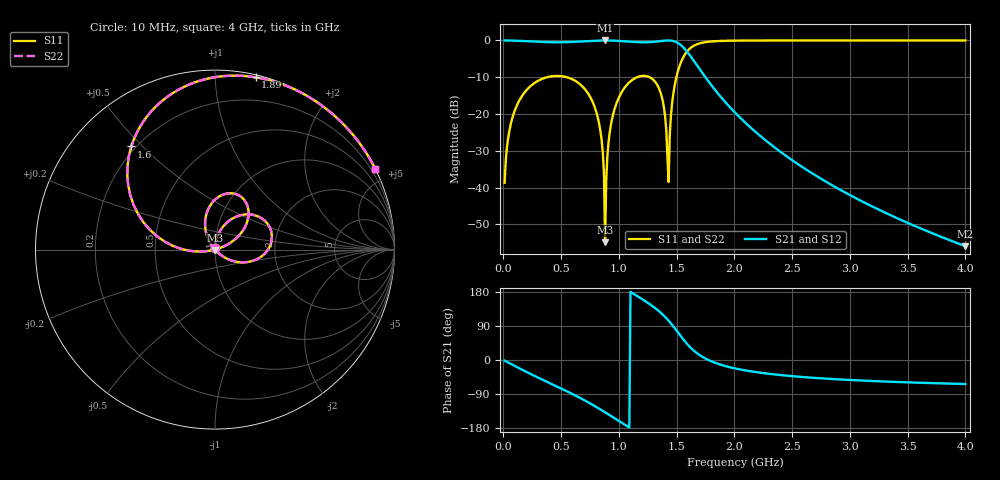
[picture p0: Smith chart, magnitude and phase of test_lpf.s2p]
! AWR Design Environment (18789) Tue Jul  1 17:10:25 2025
! Document = 'lpf'
! nPorts: 2, nXvals: 400
# GHz S DB R 50
!Freq DBS11 AngS11 DBS21 AngS21 DBS12 AngS12 DBS22 AngS22
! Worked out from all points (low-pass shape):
!   400 points, 10 MHz to 4 GHz, reference 50 ohm
!   highest |S21| = 0.00 dB at 880 MHz (marker M1); lowest = -55.9 dB at 4 GHz (marker M2)
!   |S21| within 3 dB of the highest: start of sweep to 1.589 GHz
!   lowest |S11| = -54.9 dB at 880 MHz (marker M3), VSWR 1.00, Z = 50.1 - j0.135 ohm
!   |S11| at or under -10 dB: start of sweep to 377 MHz; 548.1 MHz to 1.157 GHz (608.4 MHz wide, 71.4 % of centre); 1.266 GHz to 1.498 GHz (231.7 MHz wide, 16.8 % of centre)
!   |S22| runs from -54.9 to 0.0 dB; largest |S21 - S12| = 0
!   S11 on the Smith chart (normalised r, x): 10 MHz: 1.00, +0.02; 1.6 GHz: 0.18, +0.46; 1.89 GHz: 0.02, +1.26; 4 GHz: 0.00, +4.23
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0.01  -38.69 88.4  -0.00 -1.6  -0.00 -1.6  -38.69 88.4
0.06  -23.20 80.4  -0.02 -9.6  -0.02 -9.6  -23.20 80.4
0.19  -13.86 60.0  -0.18 -30.0  -0.18 -30.0  -13.86 60.0
0.68  -12.39 -12.8  -0.26 -102.8  -0.26 -102.8  -12.39 -12.8
0.84  -24.69 -40.5  -0.01 -130.5  -0.01 -130.5  -24.69 -40.5
0.87  -35.84 -46.1  -0.00 -136.1  -0.00 -136.1  -35.84 -46.1
0.88  -54.86 -48.0  -0.00 -138.0  -0.00 -138.0  -54.86 -48.0
0.89  -37.98 130.1  -0.00 -139.9  -0.00 -139.9  -37.98 130.1
0.9  -31.34 128.2  -0.00 -141.8  -0.00 -141.8  -31.34 128.2
0.97  -17.90 114.8  -0.07 -155.2  -0.07 -155.2  -17.90 114.8
1.15  -10.09 80.5  -0.45 170.5  -0.45 170.5  -10.09 80.5
1.34  -12.59 40.5  -0.25 130.5  -0.25 130.5  -12.59 40.5
1.4  -20.70 23.7  -0.04 113.7  -0.04 113.7  -20.70 23.7
1.43  -38.47 -166.1  -0.00 103.9  -0.00 103.9  -38.47 -166.1
1.44  -25.74 -169.6  -0.01 100.4  -0.01 100.4  -25.74 -169.6
1.47  -14.71 179.2  -0.15 89.2  -0.15 89.2  -14.71 179.2
1.6  -2.61 129.1  -3.45 39.1  -3.45 39.1  -2.61 129.1
1.89  -0.12 76.7  -15.64 -13.3  -15.64 -13.3  -0.12 76.7
2.01  -0.05 67.5  -19.76 -22.5  -19.76 -22.5  -0.05 67.5
2.67  -0.00 43.3  -36.07 -46.7  -36.07 -46.7  -0.00 43.3
3.34  -0.00 32.7  -47.33 -57.3  -47.33 -57.3  -0.00 32.7
4  -0.00 26.6  -55.93 -63.4  -55.93 -63.4  -0.00 26.6
